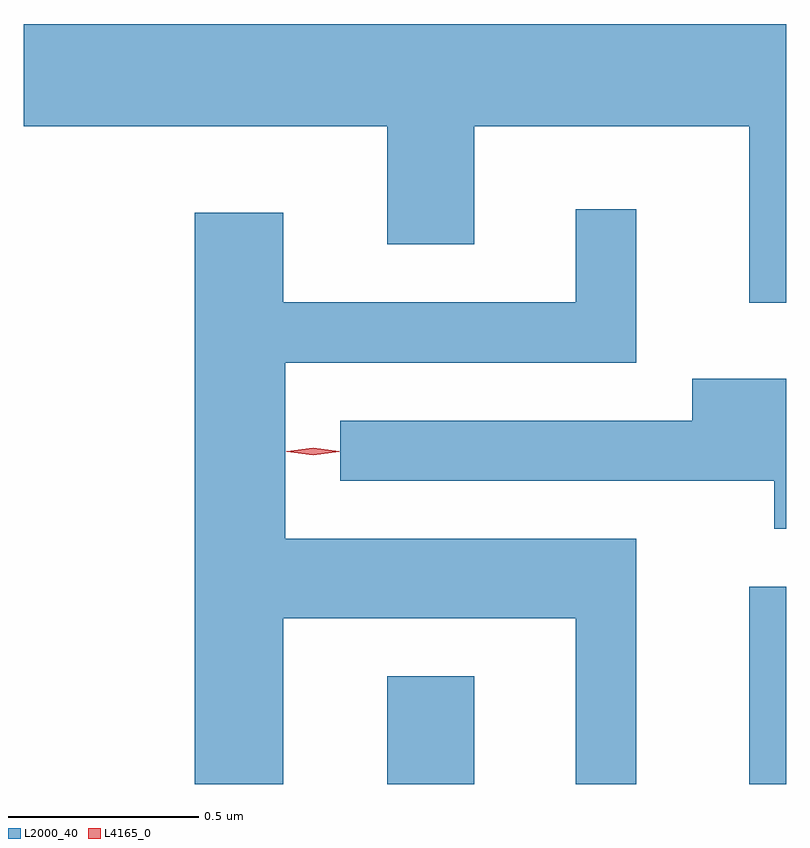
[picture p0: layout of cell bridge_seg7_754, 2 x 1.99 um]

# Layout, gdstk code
import gdstk
lib = gdstk.Library(unit=1e-6, precision=1e-09)
def R(c, l, rs):  # rectangles x0, y0, x1, y1
    for r in rs: c.add(gdstk.rectangle(r[:2], r[2:], *l))
def P(c, l, *ps):  # polygons
    for p in ps: c.add(gdstk.Polygon(p, *l))
L2000_40 = (2000, 40)
L4165_0 = (4165, 0)

bridge_seg7_754 = lib.new_cell('bridge_seg7_754')
R(bridge_seg7_754, L2000_40, [(553.241,1803.611,553.469,1803.894), (554.191,1803.611,554.288,1804.128)])
P(bridge_seg7_754, L2000_40, [(554.288,1805.604),(552.288,1805.604),(552.288,1805.336),(553.241,1805.336),(553.241,1805.026),(553.469,1805.026),(553.469,1805.336),(554.191,1805.336),(554.191,1804.873),(554.288,1804.873)],
  [(552.969,1804.046),(553.736,1804.046),(553.736,1803.611),(553.894,1803.611),(553.894,1804.254),(552.974,1804.254),(552.974,1804.716),(553.894,1804.716),(553.894,1805.118),(553.736,1805.118),(553.736,1804.874),(552.969,1804.874),(552.969,1805.109),(552.736,1805.109),(552.736,1803.611),(552.969,1803.611)],
  [(554.288,1804.674),(554.041,1804.674),(554.041,1804.564),(553.118,1804.564),(553.118,1804.406),(554.256,1804.406),(554.256,1804.281),(554.288,1804.281)])
P(bridge_seg7_754, L4165_0, [(553.047,1804.473),(552.981,1804.482),(552.98,1804.483),(552.981,1804.483),(553.047,1804.493),(553.112,1804.483),(553.113,1804.483),(553.112,1804.482)],
  [(553.047,1804.473),(552.978,1804.482),(552.977,1804.483),(552.978,1804.483),(553.047,1804.493),(553.116,1804.483),(553.116,1804.483),(553.116,1804.482)])

lib.write_gds('bridge_seg7_754.gds')
